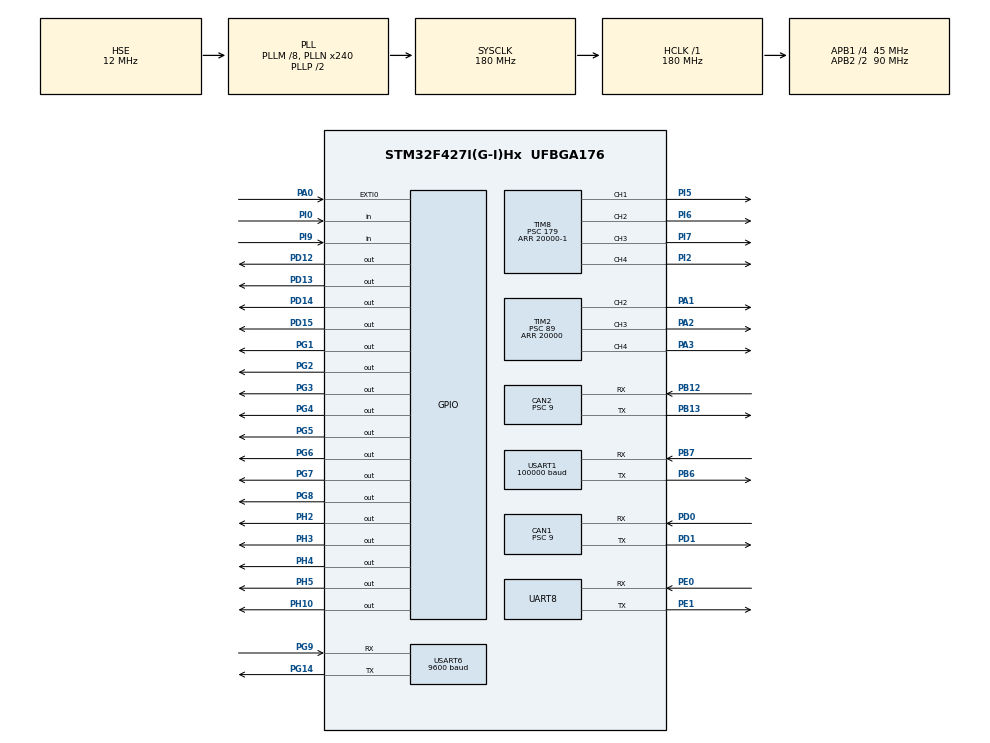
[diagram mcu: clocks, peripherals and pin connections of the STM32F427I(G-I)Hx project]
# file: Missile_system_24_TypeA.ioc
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CAN1.BS1=CAN_BS1_2TQ
CAN1.BS2=CAN_BS2_2TQ
CAN1.CalculateBaudRate=1000000
CAN1.CalculateTimeBit=1000
CAN1.CalculateTimeQuantum=200.0
CAN1.Prescaler=9
CAN2.BS1=CAN_BS1_2TQ
CAN2.BS2=CAN_BS2_2TQ
CAN2.CalculateBaudRate=1000000
CAN2.CalculateTimeBit=1000
CAN2.CalculateTimeQuantum=200.0
CAN2.Prescaler=9
Dma.Request0=USART1_RX
Dma.Request1=UART8_RX
Dma.Request2=USART6_RX
Dma.Request3=USART6_TX
Dma.UART8_RX.1.Direction=DMA_PERIPH_TO_MEMORY
Dma.UART8_RX.1.FIFOMode=DMA_FIFOMODE_DISABLE
Dma.UART8_RX.1.Instance=DMA1_Stream6
Dma.UART8_RX.1.MemDataAlignment=DMA_MDATAALIGN_BYTE
Dma.UART8_RX.1.MemInc=DMA_MINC_ENABLE
Dma.UART8_RX.1.Mode=DMA_NORMAL
Dma.UART8_RX.1.PeriphDataAlignment=DMA_PDATAALIGN_BYTE
Dma.UART8_RX.1.PeriphInc=DMA_PINC_DISABLE
Dma.UART8_RX.1.Priority=DMA_PRIORITY_LOW
Dma.USART1_RX.0.Direction=DMA_PERIPH_TO_MEMORY
Dma.USART1_RX.0.FIFOMode=DMA_FIFOMODE_DISABLE
Dma.USART1_RX.0.Instance=DMA2_Stream2
Dma.USART1_RX.0.MemDataAlignment=DMA_MDATAALIGN_BYTE
Dma.USART1_RX.0.MemInc=DMA_MINC_ENABLE
Dma.USART1_RX.0.Mode=DMA_NORMAL
Dma.USART1_RX.0.PeriphDataAlignment=DMA_PDATAALIGN_BYTE
Dma.USART1_RX.0.PeriphInc=DMA_PINC_DISABLE
Dma.USART1_RX.0.Priority=DMA_PRIORITY_LOW
Dma.USART6_RX.2.Direction=DMA_PERIPH_TO_MEMORY
Dma.USART6_RX.2.FIFOMode=DMA_FIFOMODE_DISABLE
Dma.USART6_RX.2.Instance=DMA2_Stream1
Dma.USART6_RX.2.MemDataAlignment=DMA_MDATAALIGN_BYTE
Dma.USART6_RX.2.MemInc=DMA_MINC_ENABLE
Dma.USART6_RX.2.Mode=DMA_NORMAL
Dma.USART6_RX.2.PeriphDataAlignment=DMA_PDATAALIGN_BYTE
Dma.USART6_RX.2.PeriphInc=DMA_PINC_DISABLE
Dma.USART6_RX.2.Priority=DMA_PRIORITY_LOW
Dma.USART6_TX.3.Direction=DMA_MEMORY_TO_PERIPH
Dma.USART6_TX.3.FIFOMode=DMA_FIFOMODE_DISABLE
Dma.USART6_TX.3.Instance=DMA2_Stream6
Dma.USART6_TX.3.MemDataAlignment=DMA_MDATAALIGN_BYTE
Dma.USART6_TX.3.MemInc=DMA_MINC_ENABLE
Dma.USART6_TX.3.Mode=DMA_NORMAL
Dma.USART6_TX.3.PeriphDataAlignment=DMA_PDATAALIGN_BYTE
Dma.USART6_TX.3.PeriphInc=DMA_PINC_DISABLE
Dma.USART6_TX.3.Priority=DMA_PRIORITY_LOW
FREERTOS.Tasks01=Motion_Task,24,128,MotionControlTask,Default,NULL,Dynamic,NULL,NULL;ActionTask,16,128,ActionControlTask,Default,NULL,Dynamic,NULL,NULL;referee_Task,8,128,refereeTask,Default,NULL,Dynamic,NULL,NULL
FREERTOS.configTIMER_TASK_PRIORITY=1
Mcu.Family=STM32F4
Mcu.Name=STM32F427I(G-I)Hx
Mcu.Package=UFBGA176
NVIC.CAN1_RX0_IRQn=true\:5\:0\:false\:false\:true\:true\:true\:true\:true
NVIC.CAN1_RX1_IRQn=true\:5\:0\:false\:false\:true\:true\:true\:true\:true
NVIC.CAN1_SCE_IRQn=true\:5\:0\:false\:false\:true\:true\:true\:true\:true
NVIC.CAN1_TX_IRQn=true\:5\:0\:false\:false\:true\:true\:true\:true\:true
NVIC.CAN2_RX0_IRQn=true\:5\:0\:false\:false\:true\:true\:true\:true\:true
NVIC.CAN2_RX1_IRQn=true\:5\:0\:false\:false\:true\:true\:true\:true\:true
NVIC.CAN2_SCE_IRQn=true\:5\:0\:false\:false\:true\:true\:true\:true\:true
NVIC.CAN2_TX_IRQn=true\:5\:0\:false\:false\:true\:true\:true\:true\:true
NVIC.DMA1_Stream6_IRQn=true\:5\:0\:false\:false\:true\:true\:false\:true\:true
NVIC.DMA2_Stream1_IRQn=true\:5\:0\:false\:false\:true\:true\:false\:true\:true
NVIC.DMA2_Stream2_IRQn=true\:5\:0\:false\:false\:true\:true\:false\:true\:true
NVIC.DMA2_Stream6_IRQn=true\:5\:0\:false\:false\:true\:true\:false\:true\:true
NVIC.EXTI0_IRQn=true\:5\:0\:false\:false\:true\:true\:true\:true\:true
NVIC.PriorityGroup=NVIC_PRIORITYGROUP_4
NVIC.TIM1_UP_TIM10_IRQn=true\:5\:0\:false\:false\:true\:false\:false\:true\:true
NVIC.TimeBase=TIM1_UP_TIM10_IRQn
NVIC.TimeBaseIP=TIM1
NVIC.UART8_IRQn=true\:5\:0\:false\:false\:true\:true\:true\:true\:true
NVIC.USART1_IRQn=true\:5\:0\:false\:false\:true\:true\:true\:true\:true
NVIC.USART6_IRQn=true\:5\:0\:false\:false\:true\:true\:true\:true\:true
PA0/WKUP.GPIO_PuPd=GPIO_PULLUP
PA0/WKUP.Signal=GPXTI0
PA1.Signal=S_TIM2_CH2
PA2.Signal=S_TIM2_CH3
PA3.Signal=S_TIM2_CH4
PB12.Mode=CAN_Activate
PB12.Signal=CAN2_RX
PB13.Mode=CAN_Activate
PB13.Signal=CAN2_TX
PB6.Mode=Asynchronous
PB6.Signal=USART1_TX
PB7.Mode=Asynchronous
PB7.Signal=USART1_RX
PD0.Mode=CAN_Activate
PD0.Signal=CAN1_RX
PD1.Mode=CAN_Activate
PD1.Signal=CAN1_TX
PD12.Signal=GPIO_Output
PD13.Signal=GPIO_Output
PD14.Signal=GPIO_Output
PD15.Signal=GPIO_Output
PE0.Mode=Asynchronous
PE0.Signal=UART8_RX
PE1.Mode=Asynchronous
PE1.Signal=UART8_TX
PG1.Signal=GPIO_Output
PG14.Mode=Asynchronous
PG14.Signal=USART6_TX
PG2.Signal=GPIO_Output
PG3.Signal=GPIO_Output
PG4.Signal=GPIO_Output
PG5.Signal=GPIO_Output
PG6.Signal=GPIO_Output
PG7.Signal=GPIO_Output
PG8.Signal=GPIO_Output
PG9.Mode=Asynchronous
PG9.Signal=USART6_RX
PH0/OSC_IN.Mode=HSE-External-Oscillator
PH0/OSC_IN.Signal=RCC_OSC_IN
PH1/OSC_OUT.Mode=HSE-External-Oscillator
PH1/OSC_OUT.Signal=RCC_OSC_OUT
PH10.Signal=GPIO_Output
PH2.GPIO_PuPd=GPIO_PULLUP
PH2.GPIO_Speed=GPIO_SPEED_FREQ_HIGH
PH2.PinState=GPIO_PIN_SET
PH2.Signal=GPIO_Output
PH3.GPIO_ModeDefaultOutputPP=GPIO_MODE_OUTPUT_PP
PH3.GPIO_PuPd=GPIO_PULLUP
PH3.GPIO_Speed=GPIO_SPEED_FREQ_HIGH
PH3.PinState=GPIO_PIN_SET
PH3.Signal=GPIO_Output
PH4.GPIO_ModeDefaultOutputPP=GPIO_MODE_OUTPUT_PP
PH4.GPIO_PuPd=GPIO_PULLUP
PH4.GPIO_Speed=GPIO_SPEED_FREQ_HIGH
PH4.PinState=GPIO_PIN_SET
PH4.Signal=GPIO_Output
PH5.GPIO_ModeDefaultOutputPP=GPIO_MODE_OUTPUT_PP
PH5.GPIO_PuPd=GPIO_PULLUP
PH5.GPIO_Speed=GPIO_SPEED_FREQ_HIGH
PH5.PinState=GPIO_PIN_SET
PH5.Signal=GPIO_Output
PI0.GPIO_PuPd=GPIO_PULLDOWN
PI0.Signal=GPIO_Input
PI2.Signal=S_TIM8_CH4
PI5.Signal=S_TIM8_CH1
PI6.Signal=S_TIM8_CH2
PI7.Signal=S_TIM8_CH3
PI9.GPIO_PuPd=GPIO_PULLDOWN
PI9.Signal=GPIO_Input
ProjectManager.HeapSize=0xF00
ProjectManager.StackSize=0x400
ProjectManager.TargetToolchain=MDK-ARM V5
RCC.48MHZClocksFreq_Value=90000000
RCC.AHBFreq_Value=180000000
RCC.APB1CLKDivider=RCC_HCLK_DIV4
RCC.APB1Freq_Value=45000000
RCC.APB1TimFreq_Value=90000000
RCC.APB2CLKDivider=RCC_HCLK_DIV2
RCC.APB2Freq_Value=90000000
RCC.APB2TimFreq_Value=180000000
RCC.CortexFreq_Value=180000000
RCC.HCLKFreq_Value=180000000
RCC.HSE_VALUE=12000000
RCC.HSI_VALUE=16000000
RCC.LSE_VALUE=32768
RCC.PLLM=8
RCC.PLLN=240
RCC.PLLSourceVirtual=RCC_PLLSOURCE_HSE
RCC.SYSCLKFreq_VALUE=180000000
RCC.SYSCLKSource=RCC_SYSCLKSOURCE_PLLCLK
RCC.VCOOutputFreq_Value=360000000
SH.S_TIM2_CH2.0=TIM2_CH2,PWM Generation2 CH2
SH.S_TIM2_CH3.0=TIM2_CH3,PWM Generation3 CH3
SH.S_TIM2_CH4.0=TIM2_CH4,PWM Generation4 CH4
SH.S_TIM8_CH1.0=TIM8_CH1,PWM Generation1 CH1
SH.S_TIM8_CH2.0=TIM8_CH2,PWM Generation2 CH2
SH.S_TIM8_CH3.0=TIM8_CH3,PWM Generation3 CH3
SH.S_TIM8_CH4.0=TIM8_CH4,PWM Generation4 CH4
TIM2.Channel-PWM\ Generation2\ CH2=TIM_CHANNEL_2
TIM2.Channel-PWM\ Generation3\ CH3=TIM_CHANNEL_3
TIM2.Channel-PWM\ Generation4\ CH4=TIM_CHANNEL_4
TIM2.Period=20000
TIM2.Prescaler=89
TIM2.Pulse-PWM\ Generation2\ CH2=500
TIM2.Pulse-PWM\ Generation3\ CH3=500
TIM2.Pulse-PWM\ Generation4\ CH4=500
TIM8.Channel-PWM\ Generation1\ CH1=TIM_CHANNEL_1
TIM8.Channel-PWM\ Generation2\ CH2=TIM_CHANNEL_2
TIM8.Channel-PWM\ Generation3\ CH3=TIM_CHANNEL_3
TIM8.Channel-PWM\ Generation4\ CH4=TIM_CHANNEL_4
TIM8.Period=20000-1
TIM8.Prescaler=179
TIM8.Pulse-PWM\ Generation1\ CH1=1000
TIM8.Pulse-PWM\ Generation2\ CH2=500
TIM8.Pulse-PWM\ Generation3\ CH3=500
TIM8.Pulse-PWM\ Generation4\ CH4=500
UART8.VirtualMode=Asynchronous
USART1.BaudRate=100000
USART1.VirtualMode=VM_ASYNC
USART6.BaudRate=9600
USART6.VirtualMode=VM_ASYNC
VP_FREERTOS_VS_CMSIS_V2.Mode=CMSIS_V2
VP_SYS_VS_tim1.Mode=TIM1
VP_TIM2_VS_ClockSourceINT.Mode=Internal
VP_TIM8_VS_ClockSourceINT.Mode=Internal
board=custom

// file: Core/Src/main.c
/* USER CODE BEGIN Header */
/**
  ******************************************************************************
  * @file           : main.c
  * @brief          : Main program body
  ******************************************************************************
  * @attention
  *
  * Copyright (c) 2022 STMicroelectronics.
  * All rights reserved.
  *
  * This software is licensed under terms that can be found in the LICENSE file
  * in the root directory of this software component.
  * If no LICENSE file comes with this software, it is provided AS-IS.
  *
  ******************************************************************************
  */
/* USER CODE END Header */
#include "main.h"
#include "cmsis_os.h"
#include "can.h"
#include "dma.h"
#include "tim.h"
#include "usart.h"
#include "gpio.h"

/* USER CODE BEGIN Includes */
#include "remote_control.h"
#include "Moto.h"
#include "weight_data.h"

/* USER CODE END Includes */

void SystemClock_Config(void);
void MX_FREERTOS_Init(void);

/* USER CODE BEGIN 0 */
/***********************************************************
函数名：BSP_Init
功能：板级初始化，FreeRTOS启动前被调用
参数：None
***********************************************************/
void BSP_Init()
{
	remote_control_init();		//遥控器初始化
	weight_data_init();				//拉力接收初始化(dma)

//	HAL_GPIO_WritePin(GPIOH, GPIO_PIN_2, GPIO_PIN_SET);    //24V供电
//	HAL_GPIO_WritePin(GPIOH, GPIO_PIN_3, GPIO_PIN_SET);
//	HAL_GPIO_WritePin(GPIOH, GPIO_PIN_4, GPIO_PIN_SET);
	HAL_GPIO_WritePin(GPIOH, GPIO_PIN_5, GPIO_PIN_SET);

	CAN_Filter_Init(&hcan1);
	CAN_Filter_Init(&hcan2);	//CAN过滤初始化
	HAL_CAN_Start(&hcan1);
	HAL_CAN_Start(&hcan2);
}
/* USER CODE END 0 */

int main(void)
{

  /* MCU Configuration--------------------------------------------------------*/

  /* Reset of all peripherals, Initializes the Flash interface and the Systick. */
  HAL_Init();

  /* Configure the system clock */
  SystemClock_Config();

  /* Initialize all configured peripherals */
  MX_GPIO_Init();
  MX_DMA_Init();
  MX_CAN1_Init();
  MX_CAN2_Init();
  MX_TIM2_Init();
  MX_TIM8_Init();
  MX_UART8_Init();
  MX_USART1_UART_Init();
  MX_USART6_UART_Init();
  /* USER CODE BEGIN 2 */
	BSP_Init();
	// HAL_TIM_Base_Start_IT(&htim11);
  /* USER CODE END 2 */

  /* Init scheduler */
  osKernelInitialize();  /* Call init function for freertos objects (in freertos.c) */
  MX_FREERTOS_Init();

  /* Start scheduler */
  osKernelStart();

  /* We should never get here as control is now taken by the scheduler */
  /* Infinite loop */
  while (1)
  {

  }
}

void SystemClock_Config(void)
{
  RCC_OscInitTypeDef RCC_OscInitStruct = {0};
  RCC_ClkInitTypeDef RCC_ClkInitStruct = {0};

  /** Configure the main internal regulator output voltage
  */
  __HAL_RCC_PWR_CLK_ENABLE();
  __HAL_PWR_VOLTAGESCALING_CONFIG(PWR_REGULATOR_VOLTAGE_SCALE1);

  /** Initializes the RCC Oscillators according to the specified parameters
  * in the RCC_OscInitTypeDef structure.
  */
  RCC_OscInitStruct.OscillatorType = RCC_OSCILLATORTYPE_HSE;
  RCC_OscInitStruct.HSEState = RCC_HSE_ON;
  RCC_OscInitStruct.PLL.PLLState = RCC_PLL_ON;
  RCC_OscInitStruct.PLL.PLLSource = RCC_PLLSOURCE_HSE;
  RCC_OscInitStruct.PLL.PLLM = 8;
  RCC_OscInitStruct.PLL.PLLN = 240;
  RCC_OscInitStruct.PLL.PLLP = RCC_PLLP_DIV2;
  RCC_OscInitStruct.PLL.PLLQ = 4;
  if (HAL_RCC_OscConfig(&RCC_OscInitStruct) != HAL_OK)
  {
    Error_Handler();
  }

  /** Activate the Over-Drive mode
  */
  if (HAL_PWREx_EnableOverDrive() != HAL_OK)
  {
    Error_Handler();
  }

  /** Initializes the CPU, AHB and APB buses clocks
  */
  RCC_ClkInitStruct.ClockType = RCC_CLOCKTYPE_HCLK|RCC_CLOCKTYPE_SYSCLK
                              |RCC_CLOCKTYPE_PCLK1|RCC_CLOCKTYPE_PCLK2;
  RCC_ClkInitStruct.SYSCLKSource = RCC_SYSCLKSOURCE_PLLCLK;
  RCC_ClkInitStruct.AHBCLKDivider = RCC_SYSCLK_DIV1;
  RCC_ClkInitStruct.APB1CLKDivider = RCC_HCLK_DIV4;
  RCC_ClkInitStruct.APB2CLKDivider = RCC_HCLK_DIV2;

  if (HAL_RCC_ClockConfig(&RCC_ClkInitStruct, FLASH_LATENCY_5) != HAL_OK)
  {
    Error_Handler();
  }
}

/* USER CODE BEGIN 4 */
void HAL_UART_TxCpltCallback(UART_HandleTypeDef *huart)
{
    if (huart->Instance == USART6)  // 检查是否是对应的 UART
    {
    }
}

/* USER CODE END 4 */

void HAL_TIM_PeriodElapsedCallback(TIM_HandleTypeDef *htim)
{
  /* USER CODE BEGIN Callback 0 */
		if (htim->Instance == TIM11) {
//            weight_send_IRQ();
  }
  /* USER CODE END Callback 0 */
  if (htim->Instance == TIM1) {
    HAL_IncTick();
  }
}

void Error_Handler(void)
{
  __disable_irq();
  while (1)
  {
  }
}

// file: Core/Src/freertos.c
/* USER CODE BEGIN Header */
/**
  ******************************************************************************
  * File Name          : freertos.c
  * Description        : Code for freertos applications
  ******************************************************************************
  * @attention
  *
  * Copyright (c) 2022 STMicroelectronics.
  * All rights reserved.
  *
  * This software is licensed under terms that can be found in the LICENSE file
  * in the root directory of this software component.
  * If no LICENSE file comes with this software, it is provided AS-IS.
  *
  ******************************************************************************
  */
/* USER CODE END Header */

#include "FreeRTOS.h"
#include "task.h"
#include "main.h"
#include "cmsis_os.h"

/* USER CODE BEGIN Includes */
#include "shoot_task.h"
#include "referee_usart_task.h"
#include "weight_data.h"
/* USER CODE END Includes */

/* Definitions for Motion_Task */
osThreadId_t Motion_TaskHandle;
const osThreadAttr_t Motion_Task_attributes = {
  .name = "Motion_Task",
  .stack_size = 128 * 4,
  .priority = (osPriority_t) osPriorityNormal,
};
/* Definitions for ActionTask */
osThreadId_t ActionTaskHandle;
const osThreadAttr_t ActionTask_attributes = {
  .name = "ActionTask",
  .stack_size = 128 * 4,
  .priority = (osPriority_t) osPriorityBelowNormal,
};
/* Definitions for referee_Task */
osThreadId_t referee_TaskHandle;
const osThreadAttr_t referee_Task_attributes = {
  .name = "referee_Task",
  .stack_size = 128 * 4,
  .priority = (osPriority_t) osPriorityLow,
};

void MotionControlTask(void *argument);
void ActionControlTask(void *argument);
void refereeTask(void *argument);

void MX_FREERTOS_Init(void); /* (MISRA C 2004 rule 8.1) */

void MX_FREERTOS_Init(void) {

  /* Create the thread(s) */
  /* creation of Motion_Task */
  Motion_TaskHandle = osThreadNew(MotionControlTask, NULL, &Motion_Task_attributes);

  /* creation of ActionTask */
  ActionTaskHandle = osThreadNew(ActionControlTask, NULL, &ActionTask_attributes);

  /* creation of referee_Task */
  referee_TaskHandle = osThreadNew(refereeTask, NULL, &referee_Task_attributes);

}

void MotionControlTask(void *argument)
{
  for(;;)
  {
    osDelay(1);
  }
}

void ActionControlTask(void *argument)
{
  /* USER CODE BEGIN ActionControlTask */
	shoot_task(argument);

  /* USER CODE END ActionControlTask */
}

void refereeTask(void *argument)
{
  /* USER CODE BEGIN refereeTask */
	referee_usart_task(argument);
  /* Infinite loop */
//  for(;;)
//  {
//    osDelay(1);
//  }
  /* USER CODE END refereeTask */
}
